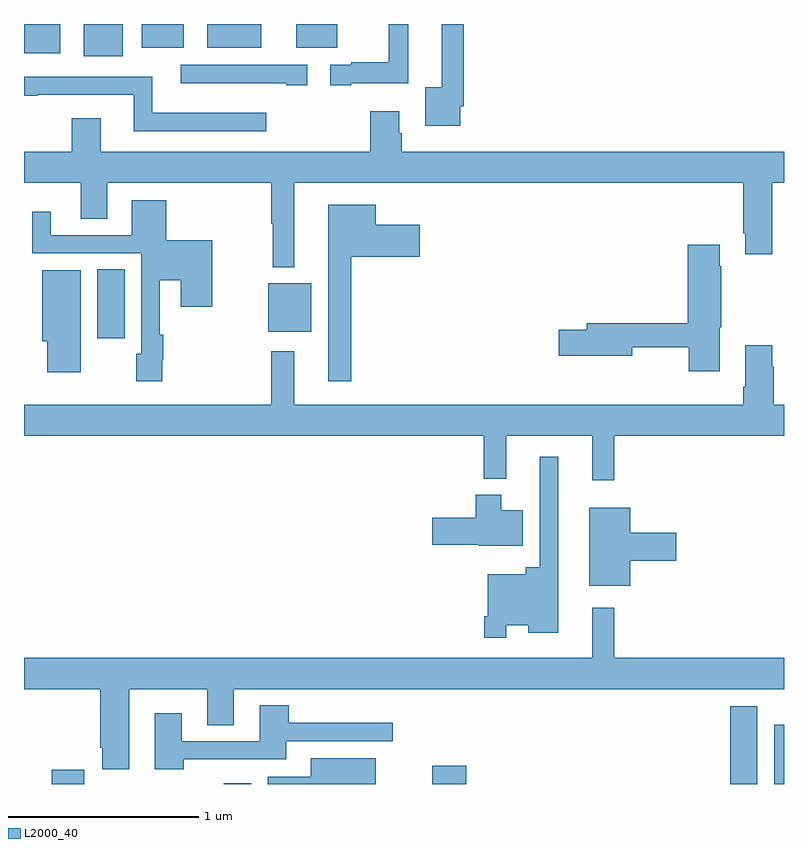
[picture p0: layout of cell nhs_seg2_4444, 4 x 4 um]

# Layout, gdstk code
import gdstk
lib = gdstk.Library(unit=1e-6, precision=1e-09)
def R(c, l, rs):  # rectangles x0, y0, x1, y1
    for r in rs: c.add(gdstk.rectangle(r[:2], r[2:], *l))
def P(c, l, *ps):  # polygons
    for p in ps: c.add(gdstk.Polygon(p, *l))
L2000_40 = (2000, 40)

nhs_seg2_4444 = lib.new_cell('nhs_seg2_4444')
R(nhs_seg2_4444, L2000_40, [(351.146,649.8,351.316,649.876), (352.052,649.8,352.195,649.804), (353.149,649.8,353.327,649.897), (354.716,649.8,354.859,650.209), (354.948,649.8,355,650.112), (351.386,652.146,351.529,652.508), (352.286,652.181,352.513,652.435), (351.314,653.63,351.52,653.8), (351,653.645,351.19,653.8), (351.62,653.675,351.841,653.8), (351.965,653.675,352.249,653.8), (352.433,653.675,352.648,653.8)])
P(nhs_seg2_4444, L2000_40, [(353.296,653.368),(353.315,653.368),(353.315,653.8),(353.198,653.8),(353.198,653.467),(353.111,653.467),(353.111,653.264),(353.296,653.264)],
  [(352.723,653.489),(353.023,653.489),(353.023,653.8),(352.921,653.8),(352.921,653.599),(352.723,653.599),(352.723,653.586),(352.611,653.586),(352.611,653.478),(352.723,653.478)],
  [(352.492,653.586),(351.825,653.586),(351.825,653.489),(352.379,653.489),(352.379,653.478),(352.492,653.478)],
  [(352.276,653.332),(351.676,653.332),(351.676,653.523),(351,653.523),(351,653.422),(351.073,653.422),(351.073,653.427),(351.578,653.427),(351.578,653.235),(352.276,653.235)],
  [(352.423,652.964),(354.785,652.964),(354.785,652.699),(354.797,652.699),(354.797,652.587),(354.937,652.587),(354.937,652.964),(355,652.964),(355,653.128),(352.988,653.128),(352.988,653.226),(352.975,653.226),(352.975,653.341),(352.823,653.341),(352.823,653.128),(351.403,653.128),(351.403,653.305),(351.251,653.305),(351.251,653.128),(351,653.128),(351,652.964),(351.299,652.964),(351.299,652.774),(351.439,652.774),(351.439,652.964),(352.302,652.964),(352.302,652.748),(352.309,652.748),(352.309,652.52),(352.423,652.52)],
  [(351.727,652.033),(351.734,652.033),(351.734,652.165),(351.714,652.165),(351.714,652.451),(351.824,652.451),(351.824,652.311),(351.99,652.311),(351.99,652.663),(351.748,652.663),(351.748,652.873),(351.566,652.873),(351.566,652.689),(351.142,652.689),(351.142,652.813),(351.044,652.813),(351.044,652.593),(351.618,652.593),(351.618,652.065),(351.592,652.065),(351.592,651.921),(351.727,651.921)],
  [(352.723,652.574),(353.083,652.574),(353.083,652.744),(352.852,652.744),(352.852,652.849),(352.601,652.849),(352.601,651.921),(352.723,651.921)],
  [(354.661,652.203),(354.669,652.203),(354.669,652.526),(354.661,652.526),(354.661,652.639),(354.494,652.639),(354.494,652.226),(353.963,652.226),(353.963,652.19),(353.814,652.19),(353.814,652.055),(354.202,652.055),(354.202,652.098),(354.499,652.098),(354.499,651.972),(354.661,651.972)],
  [(351.298,652.504),(351.095,652.504),(351.095,652.131),(351.122,652.131),(351.122,651.968),(351.298,651.968)],
  [(354.107,651.632),(355,651.632),(355,651.796),(354.945,651.796),(354.945,651.995),(354.937,651.995),(354.937,652.108),(354.797,652.108),(354.797,651.892),(354.785,651.892),(354.785,651.796),(352.423,651.796),(352.423,652.078),(352.302,652.078),(352.302,651.796),(351,651.796),(351,651.632),(353.419,651.632),(353.419,651.407),(353.537,651.407),(353.537,651.632),(353.99,651.632),(353.99,651.399),(354.107,651.399)],
  [(353.538,650.636),(353.654,650.636),(353.654,650.597),(353.812,650.597),(353.812,651.523),(353.715,651.523),(353.715,650.941),(353.642,650.941),(353.642,650.905),(353.442,650.905),(353.442,650.683),(353.422,650.683),(353.422,650.571),(353.538,650.571)],
  [(353.626,651.241),(353.512,651.241),(353.512,651.322),(353.378,651.322),(353.378,651.201),(353.148,651.201),(353.148,651.059),(353.394,651.059),(353.394,651.053),(353.626,651.053)],
  [(354.19,650.975),(354.433,650.975),(354.433,651.122),(354.19,651.122),(354.19,651.253),(353.975,651.253),(353.975,650.843),(354.19,650.843)],
  [(351.553,650.3),(351.965,650.3),(351.965,650.11),(352.105,650.11),(352.105,650.3),(355,650.3),(355,650.464),(354.107,650.464),(354.107,650.728),(353.99,650.728),(353.99,650.464),(351,650.464),(351,650.3),(351.401,650.3),(351.401,649.99),(351.413,649.99),(351.413,649.878),(351.553,649.878)],
  [(351.842,649.929),(352.381,649.929),(352.381,650.025),(352.942,650.025),(352.942,650.122),(352.394,650.122),(352.394,650.215),(352.241,650.215),(352.241,650.025),(351.829,650.025),(351.829,650.173),(351.689,650.173),(351.689,649.878),(351.842,649.878)],
  [(352.852,649.936),(352.508,649.936),(352.508,649.839),(352.284,649.839),(352.284,649.8),(352.852,649.8)])

lib.write_gds('nhs_seg2_4444.gds')
